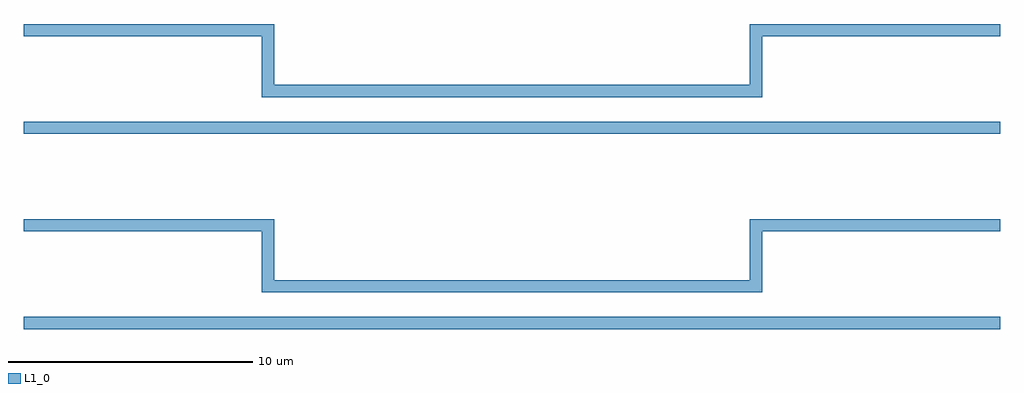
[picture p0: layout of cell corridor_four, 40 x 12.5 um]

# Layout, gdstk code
import gdstk
lib = gdstk.Library(unit=1e-6, precision=1e-09)
def R(c, l, rs):  # rectangles x0, y0, x1, y1
    for r in rs: c.add(gdstk.rectangle(r[:2], r[2:], *l))
L1_0 = (1, 0)

corridor_four = lib.new_cell('corridor_four')
R(corridor_four, L1_0, [(0,-0.25,40,0.25)])
corridor_four.add(gdstk.FlexPath([(0,4),(10,4),(10,1.5),(30,1.5),(30,4),(40,4)], 0.5, ends="flush", simple_path=True, layer=1, datatype=0))  # L1_0
corridor_four.add(gdstk.FlexPath([(0,8),(40,8)], 0.5, ends="flush", simple_path=True, layer=1, datatype=0))  # L1_0
corridor_four.add(gdstk.FlexPath([(0,12),(10,12),(10,9.5),(30,9.5),(30,12),(40,12)], 0.5, ends="flush", simple_path=True, layer=1, datatype=0))  # L1_0

lib.write_gds('corridor_four.gds')
